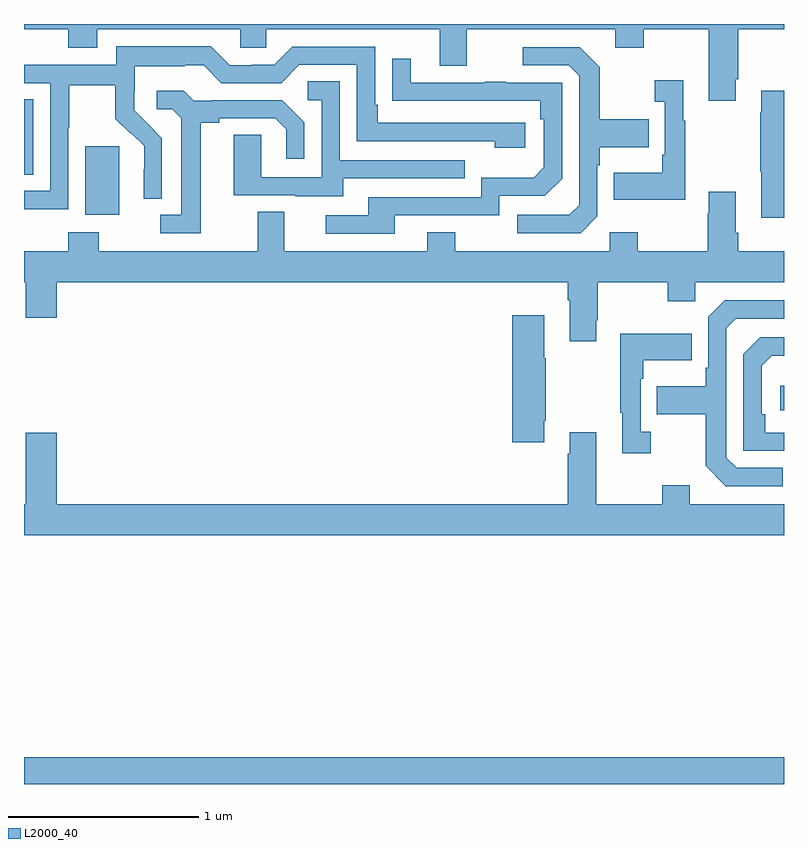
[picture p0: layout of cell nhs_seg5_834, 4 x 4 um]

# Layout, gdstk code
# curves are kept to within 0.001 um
import gdstk
lib = gdstk.Library(unit=1e-6, precision=1e-09)
def R(c, l, rs):  # rectangles x0, y0, x1, y1
    for r in rs: c.add(gdstk.rectangle(r[:2], r[2:], *l))
def P(c, l, *ps):  # polygons
    for p in ps: c.add(gdstk.Polygon(p, *l))
L2000_40 = (2000, 40)

nhs_seg5_834 = lib.new_cell('nhs_seg5_834')
R(nhs_seg5_834, L2000_40, [(165,840.799,169,840.94), (168.981,842.766,169,842.896), (165.323,843.794,165.502,844.155), (165,844.006,165.049,844.403)])
P(nhs_seg5_834, L2000_40, [(168.745,844.507),(168.758,844.507),(168.758,844.772),(169,844.772),(169,844.799),(165,844.799),(165,844.772),(165.233,844.772),(165.233,844.673),(165.385,844.673),(165.385,844.772),(166.137,844.772),(166.137,844.674),(166.275,844.674),(166.275,844.772),(167.189,844.772),(167.189,844.578),(167.329,844.578),(167.329,844.772),(168.113,844.772),(168.113,844.673),(168.261,844.673),(168.261,844.772),(168.605,844.772),(168.605,844.395),(168.745,844.395)],
  [(165.234,844.252),(165.237,844.252),(165.237,844.476),(165.481,844.476),(165.481,844.301),(165.558,844.224),(165.561,844.227),(165.632,844.157),(165.632,844.034),(165.63,844.034),(165.63,843.88),(165.726,843.88),(165.726,844.198),(165.58,844.346),(165.58,844.443),(165.582,844.443),(165.582,844.577),(165.845,844.577),(165.845,844.581),(165.945,844.581),(166.038,844.488),(166.353,844.488),(166.449,844.584),(166.752,844.584),(166.752,844.182),(167.477,844.182),(167.477,844.148),(167.638,844.148),(167.638,844.278),(166.861,844.278),(166.861,844.375),(166.848,844.375),(166.848,844.68),(166.413,844.68),(166.317,844.584),(166.199,844.584),(166.199,844.581),(166.083,844.581),(165.983,844.681),(165.486,844.681),(165.486,844.584),(165,844.584),(165,844.488),(165.138,844.488),(165.138,843.921),(165,843.921),(165,843.823),(165.234,843.823)],
  [(168.018,843.786),(168.018,844.055),(168.031,844.055),(168.031,844.151),(168.287,844.151),(168.287,844.299),(168.031,844.299),(168.031,844.571),(167.925,844.677),(167.625,844.677),(167.625,844.581),(167.868,844.581),(167.922,844.527),(167.922,843.846),(167.871,843.795),(167.595,843.795),(167.595,843.699),(167.931,843.699)],
  [(166.951,843.792),(167.502,843.792),(167.502,843.894),(167.742,843.894),(167.832,843.984),(167.832,844.491),(167.537,844.491),(167.537,844.496),(167.425,844.496),(167.425,844.491),(167.035,844.491),(167.035,844.615),(166.939,844.615),(166.939,844.396),(167.716,844.395),(167.716,844.298),(167.736,844.298),(167.736,844.044),(167.683,843.991),(167.406,843.991),(167.406,843.888),(166.811,843.888),(166.811,843.792),(166.587,843.792),(166.587,843.696),(166.951,843.696)],
  [(168.481,844.291),(168.469,844.291),(168.469,844.504),(168.321,844.504),(168.321,844.391),(168.372,844.391),(168.372,844.111),(168.36,844.111),(168.36,844.015),(168.103,844.015),(168.103,843.875),(168.481,843.875)],
  [(166.681,843.987),(167.321,843.987),(167.321,844.083),(166.662,844.083),(166.662,844.499),(166.494,844.499),(166.494,844.398),(166.566,844.398),(166.566,843.993),(166.248,843.993),(166.248,844.217),(166.103,844.217),(166.103,843.897),(166.427,843.897),(166.427,843.893),(166.681,843.893)],
  [(165.931,844.28),(166.027,844.28),(166.027,844.302),(166.322,844.302),(166.379,844.245),(166.379,844.089),(166.476,844.089),(166.476,844.282),(166.36,844.398),(165.988,844.398),(165.988,844.395),(165.894,844.395),(165.842,844.447),(165.699,844.447),(165.699,844.35),(165.78,844.35),(165.827,844.303),(165.827,843.795),(165.717,843.795),(165.717,843.699),(165.931,843.699)],
  [(169,844.447),(168.881,844.447),(168.881,844.334),(168.874,844.334),(168.874,844.023),(168.881,844.023),(168.881,843.78),(169,843.78)],
  [(167.271,843.703),(167.123,843.703),(167.123,843.604),(166.369,843.604),(166.369,843.812),(166.229,843.812),(166.229,843.604),(165.393,843.604),(165.393,843.703),(165.233,843.703),(165.233,843.604),(165,843.604),(165,843.44),(165.008,843.44),(165.008,843.252),(165.172,843.252),(165.172,843.44),(167.861,843.44),(167.861,843.344),(167.873,843.344),(167.873,843.129),(168.013,843.129),(168.013,843.241),(168.021,843.241),(168.021,843.44),(168.388,843.44),(168.388,843.341),(168.534,843.341),(168.534,843.44),(169,843.44),(169,843.604),(168.758,843.604),(168.758,843.7),(168.745,843.7),(168.745,843.916),(168.605,843.916),(168.605,843.803),(168.598,843.803),(168.598,843.604),(168.231,843.604),(168.231,843.703),(168.084,843.703),(168.084,843.604),(167.271,843.604)],
  [(168.994,842.463),(168.75,842.463),(168.696,842.517),(168.696,843.198),(168.747,843.249),(169,843.249),(169,843.345),(168.687,843.345),(168.6,843.258),(168.6,842.989),(168.588,842.989),(168.588,842.893),(168.331,842.893),(168.331,842.746),(168.588,842.746),(168.588,842.473),(168.693,842.367),(168.994,842.367)],
  [(167.737,842.71),(167.745,842.71),(167.745,843.041),(167.737,843.041),(167.737,843.265),(167.57,843.265),(167.57,842.598),(167.737,842.598)],
  [(168.298,842.654),(168.246,842.654),(168.246,842.933),(168.259,842.933),(168.259,843.029),(168.515,843.029),(168.515,843.169),(168.138,843.169),(168.138,842.753),(168.149,842.753),(168.149,842.541),(168.298,842.541)],
  [(169,842.649),(168.902,842.649),(168.902,842.746),(168.882,842.746),(168.882,843),(168.935,843.053),(169,843.053),(169,843.15),(168.876,843.15),(168.786,843.06),(168.786,842.553),(169,842.553)],
  [(169,842.272),(168.505,842.272),(168.505,842.371),(168.358,842.371),(168.358,842.272),(168.013,842.272),(168.013,842.65),(167.873,842.65),(167.873,842.537),(167.861,842.537),(167.861,842.272),(165.172,842.272),(165.172,842.647),(165.008,842.647),(165.008,842.272),(165,842.272),(165,842.108),(169,842.108)])

lib.write_gds('nhs_seg5_834.gds')
